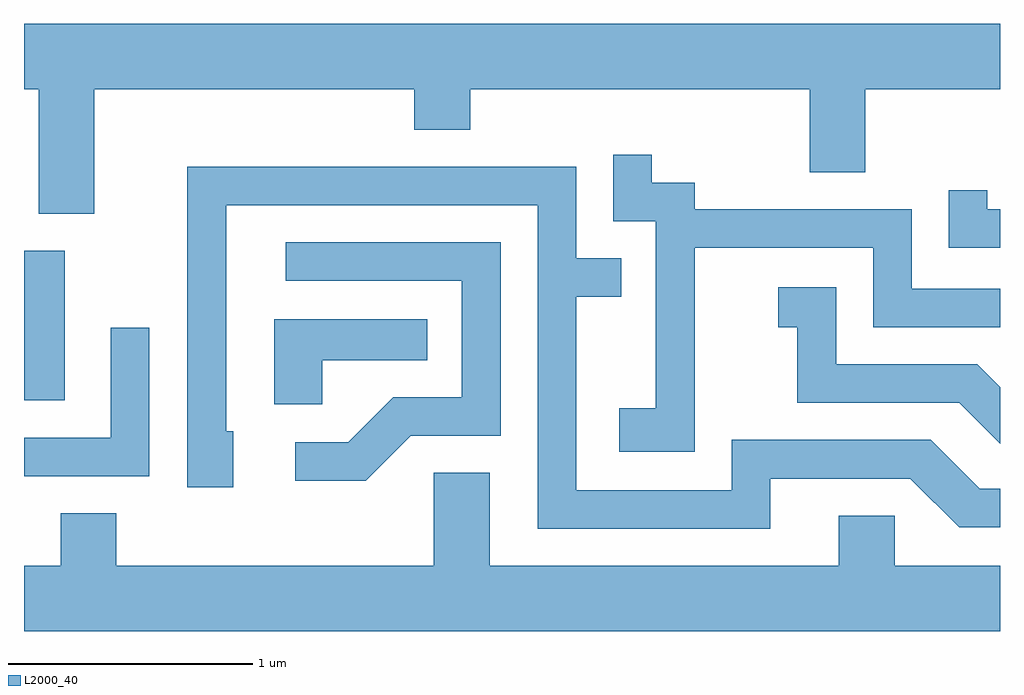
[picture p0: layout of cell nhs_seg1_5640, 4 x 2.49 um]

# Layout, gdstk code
import gdstk
lib = gdstk.Library(unit=1e-6, precision=1e-09)
def R(c, l, rs):  # rectangles x0, y0, x1, y1
    for r in rs: c.add(gdstk.rectangle(r[:2], r[2:], *l))
def P(c, l, *ps):  # polygons
    for p in ps: c.add(gdstk.Polygon(p, *l))
L2000_40 = (2000, 40)

nhs_seg1_5640 = lib.new_cell('nhs_seg1_5640')
R(nhs_seg1_5640, L2000_40, [(355.611,869.441,355.779,870.054)])
P(nhs_seg1_5640, L2000_40, [(355.899,870.716),(357.211,870.716),(357.211,870.551),(357.439,870.551),(357.439,870.716),(358.831,870.716),(358.831,870.376),(359.059,870.376),(359.059,870.716),(359.611,870.716),(359.611,870.984),(355.611,870.984),(355.611,870.716),(355.671,870.716),(355.671,870.206),(355.899,870.206)],
  [(358.359,870.066),(359.091,870.066),(359.091,869.741),(359.611,869.741),(359.611,869.899),(359.249,869.899),(359.249,870.224),(358.359,870.224),(358.359,870.334),(358.184,870.334),(358.184,870.448),(358.026,870.448),(358.026,870.176),(358.201,870.176),(358.201,869.409),(358.051,869.409),(358.051,869.231),(358.359,869.231)],
  [(358.669,869.121),(359.244,869.121),(359.444,868.921),(359.611,868.921),(359.611,869.079),(359.527,869.079),(359.327,869.279),(358.511,869.279),(358.511,869.074),(357.874,869.074),(357.874,869.866),(358.058,869.866),(358.058,870.024),(357.874,870.024),(357.874,870.399),(356.281,870.399),(356.281,869.086),(356.469,869.086),(356.469,869.314),(356.439,869.314),(356.439,870.241),(357.716,870.241),(357.716,868.916),(358.669,868.916)],
  [(359.611,870.224),(359.559,870.224),(359.559,870.303),(359.401,870.303),(359.401,870.066),(359.611,870.066)],
  [(357.197,869.296),(357.564,869.296),(357.564,870.089),(356.683,870.089),(356.683,869.931),(357.406,869.931),(357.406,869.454),(357.124,869.454),(356.939,869.269),(356.723,869.269),(356.723,869.111),(357.012,869.111)],
  [(359.611,869.495),(359.517,869.589),(358.939,869.589),(358.939,869.904),(358.703,869.904),(358.703,869.741),(358.781,869.741),(358.781,869.431),(359.444,869.431),(359.611,869.264)],
  [(356.834,869.606),(357.263,869.606),(357.263,869.774),(356.636,869.774),(356.636,869.426),(356.834,869.426)],
  [(356.124,869.738),(355.966,869.738),(355.966,869.289),(355.611,869.289),(355.611,869.131),(356.124,869.131)],
  [(359.611,868.764),(359.179,868.764),(359.179,868.969),(358.951,868.969),(358.951,868.764),(357.519,868.764),(357.519,869.144),(357.291,869.144),(357.291,868.764),(355.989,868.764),(355.989,868.979),(355.761,868.979),(355.761,868.764),(355.611,868.764),(355.611,868.496),(359.611,868.496)])

lib.write_gds('nhs_seg1_5640.gds')
